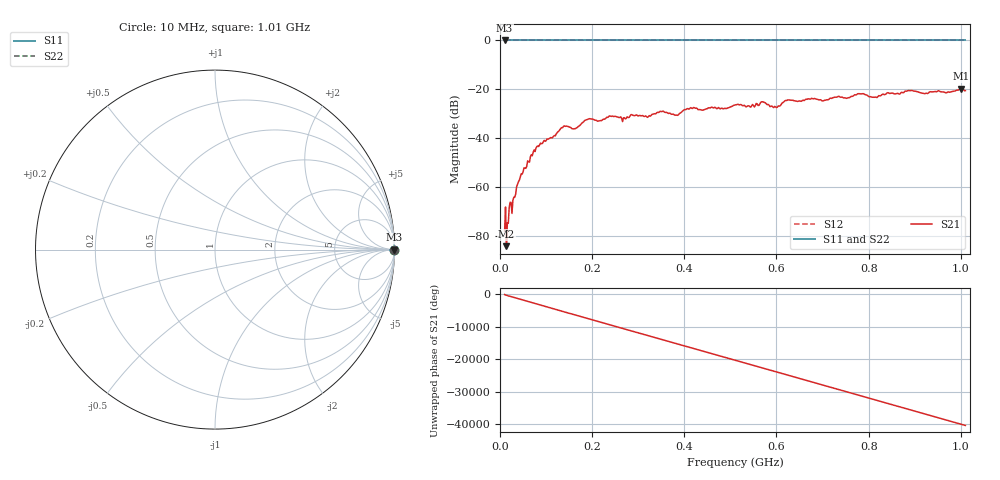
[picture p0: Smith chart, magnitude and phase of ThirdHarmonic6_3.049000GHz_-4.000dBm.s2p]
! 8/17/2025 8:51:03 AM
! C:\ANRITSUVNA\TEMP\TEMP.S2P
! CHANNEL.1
! TR.MEASUREMENT
! RAW.DATA
! RF.CORRECTION.OFF
! AVERAGING.OFF
! IF.BANDWIDTH: 5KHZ
! SWEEPTYPE:  FREQ.SWEEP(Linear)
! Reference Plane Port Info
! PORT:  PORT1  PORT2
! DISTANCE:  0  m  0  m
! TIME:  0  s  0  s
! PHASE.OFFSET:  0  deg.  0  deg.
! LOSS:  0  dB  0  dB
! REF.LOSS:  0  dB  0  dB
! REF.FREQ:  0  Hz  0  Hz
! Power Info
! POWER:  -20  dBm  -20  dBm
! EFF.POWER:  -20  dBm  -20  dBm
! SOURCE.ATTEN:  0  dB  0  dB
! TEST.ATTEN:  0  dB  0  dB
# GHZ S RI R 50.0
! FREQ.GHZ  S11RE  S11IM  S21RE  S21IM  S12RE  S12IM  S22RE  S22IM
!; PortSelection: Port_12
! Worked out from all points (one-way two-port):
!   501 points, 10 MHz to 1.01 GHz, reference 50 ohm
!   highest |S21| = -19.77 dB at 1 GHz (marker M1); lowest = -84.3 dB at 14 MHz (marker M2)
!   lowest |S11| = 0.0 dB at 10 MHz (marker M3)
!   |S11| at or under -10 dB: nowhere
!   |S22| runs from 0.0 to 0.0 dB; largest |S21 - S12| = 1.1
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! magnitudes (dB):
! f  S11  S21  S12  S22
! 10 MHz  0.0  -78.1  0.0  0.0
! 14 MHz  0.0  -84.3  0.0  0.0
! 42 MHz  0.0  -57.2  0.0  0.0
! 78 MHz  0.0  -44.1  0.0  0.0
! 136 MHz  0.0  -35.7  0.0  0.0
! 162 MHz  0.0  -36.1  0.0  0.0
! 178 MHz  0.0  -33.8  0.0  0.0
! 192 MHz  0.0  -32.2  0.0  0.0
! 270 MHz  0.0  -31.6  0.0  0.0
! 344 MHz  0.0  -29.5  0.0  0.0
! 384 MHz  0.0  -30.6  0.0  0.0
! 410 MHz  0.0  -28.2  0.0  0.0
! 510 MHz  0.0  -26.4  0.0  0.0
! 570 MHz  0.0  -25.1  0.0  0.0
! 598 MHz  0.0  -27.2  0.0  0.0
! 622 MHz  0.0  -24.6  0.0  0.0
! 678 MHz  0.0  -23.8  0.0  0.0
! 782 MHz  0.0  -21.9  0.0  0.0
! 814 MHz  0.0  -23.2  0.0  0.0
! 844 MHz  0.0  -21.6  0.0  0.0
! 1 GHz  0.0  -19.8  0.0  0.0
! 1.01 GHz  0.0  -20.6  0.0  0.0
